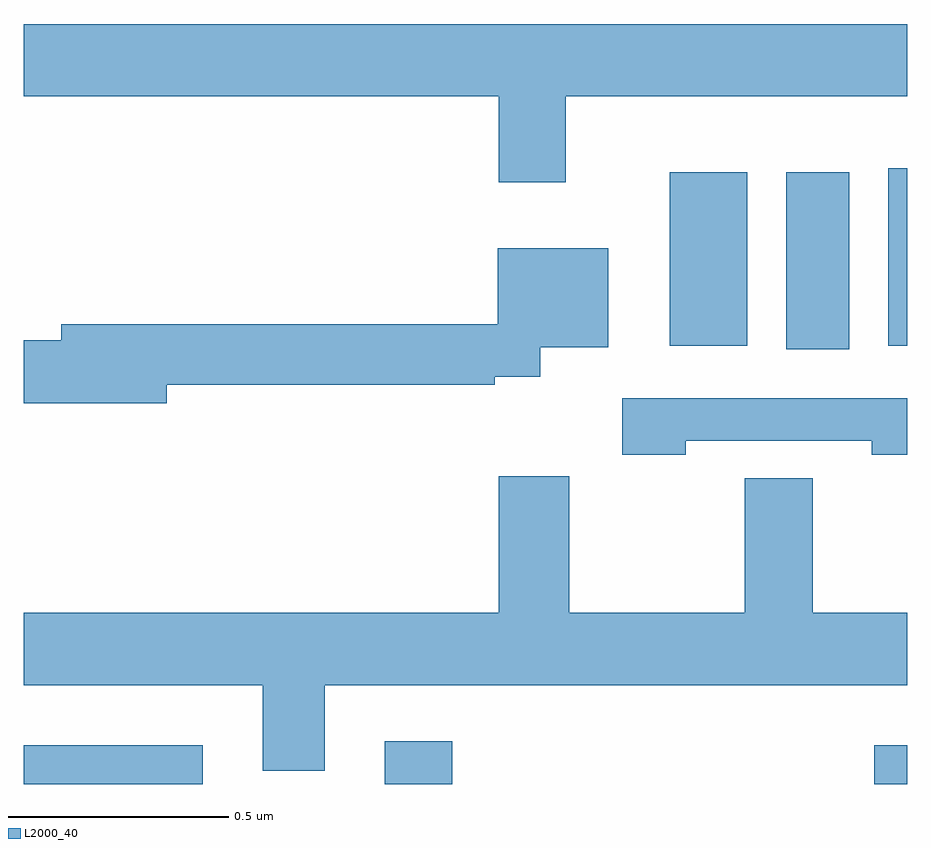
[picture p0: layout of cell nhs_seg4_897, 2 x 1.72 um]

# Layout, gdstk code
import gdstk
lib = gdstk.Library(unit=1e-6, precision=1e-09)
def R(c, l, rs):  # rectangles x0, y0, x1, y1
    for r in rs: c.add(gdstk.rectangle(r[:2], r[2:], *l))
def P(c, l, *ps):  # polygons
    for p in ps: c.add(gdstk.Polygon(p, *l))
L2000_40 = (2000, 40)

nhs_seg4_897 = lib.new_cell('nhs_seg4_897')
R(nhs_seg4_897, L2000_40, [(121,825.9,121.405,825.988), (121.817,825.9,121.97,825.997), (122.925,825.9,123,825.988), (122.726,826.884,122.869,827.284), (122.462,826.892,122.638,827.284), (122.957,826.892,123,827.293)])
P(nhs_seg4_897, L2000_40, [(122.227,827.456),(123,827.456),(123,827.62),(121,827.62),(121,827.456),(122.075,827.456),(122.075,827.262),(122.227,827.262)],
  [(121.324,826.804),(122.066,826.804),(122.066,826.822),(122.169,826.822),(122.169,826.889),(122.323,826.889),(122.323,827.113),(122.073,827.113),(122.073,826.94),(121.085,826.94),(121.085,826.904),(121,826.904),(121,826.762),(121.324,826.762)],
  [(122.499,826.677),(122.919,826.677),(122.919,826.645),(123,826.645),(123,826.773),(122.355,826.773),(122.355,826.645),(122.499,826.645)],
  [(121.681,826.124),(123,826.124),(123,826.288),(122.786,826.288),(122.786,826.592),(122.632,826.592),(122.632,826.288),(122.235,826.288),(122.235,826.597),(122.075,826.597),(122.075,826.288),(121,826.288),(121,826.124),(121.541,826.124),(121.541,825.93),(121.681,825.93)])

lib.write_gds('nhs_seg4_897.gds')
